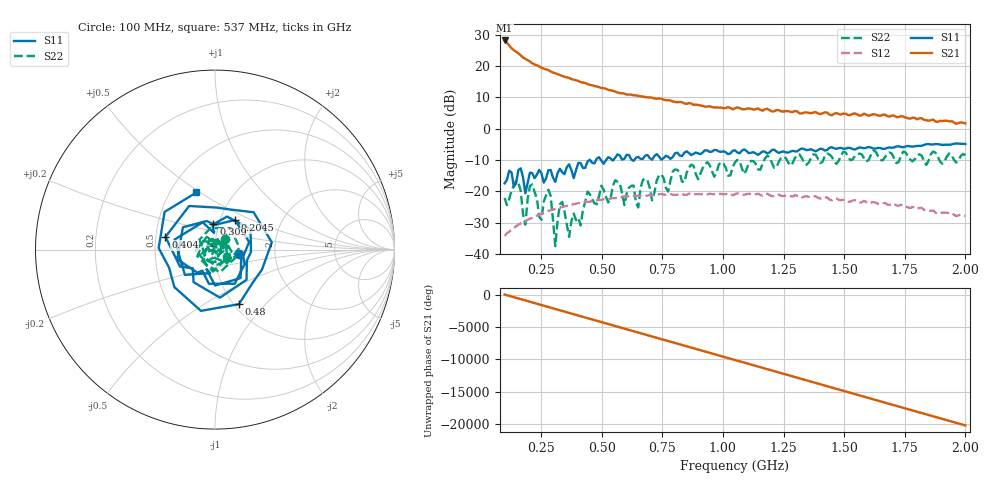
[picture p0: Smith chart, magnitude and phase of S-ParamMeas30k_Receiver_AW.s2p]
!Keysight Technologies,N5242B,MY48420967,A.15.65.19
!Date: Saturday, February 04, 2023 03:20:32
!Correction: S11(C  1-Port  )
!S21(Off)
!S12(Off)
!S22(Off)
!S2P File: Measurements: S11, S21, S12, S22:
# Hz S  dB  R 50
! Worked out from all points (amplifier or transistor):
!   201 points, 100 MHz to 2 GHz, reference 50 ohm
!   highest |S21| = 28.1 dB at 100 MHz (marker M1)
!   |S21| within 3 dB of that: start of sweep to 136.4 MHz
!   unconditionally stable (mu >= 1): start of sweep to end of sweep
!   at 413.5 MHz: K = 1.46, MAG = 15.3 dB, |S12| = -23.8 dB
!   at 1.05 GHz: K = 2.11, MAG = 7.7 dB, |S12| = -20.9 dB
!   at 2 GHz: K = 5.77, MAG = 4.2 dB, |S12| = -27.9 dB
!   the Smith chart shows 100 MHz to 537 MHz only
!   S11 on the Smith chart (normalised r, x): 100 MHz: 1.30, -0.07; 204.5 MHz: 1.17, +0.40; 309 MHz: 0.95, +0.27; 404 MHz: 0.56, +0.09; 480 MHz: 1.05, -0.72; 537 MHz: 0.67, +0.48
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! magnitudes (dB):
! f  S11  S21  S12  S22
! 100 MHz  -17.5  28.1  -34.3  -22.1
! 157 MHz  -13.2  24.0  -30.6  -17.3
! 185.5 MHz  -20.7  22.3  -29.6  -30.6
! 204.5 MHz  -14.0  21.4  -28.7  -18.3
! 252 MHz  -14.3  19.5  -27.2  -29.1
! 280.5 MHz  -13.3  18.7  -26.2  -19.5
! 309 MHz  -17.0  17.7  -25.6  -37.5
! 328 MHz  -12.8  17.1  -25.2  -24.1
! 366 MHz  -11.4  16.2  -24.4  -34.5
! 404 MHz  -10.9  15.2  -23.8  -28.5
! 423 MHz  -12.6  14.7  -23.5  -25.9
! 480 MHz  -9.6  13.4  -22.9  -24.1
! 537 MHz  -9.5  12.2  -22.3  -22.2
! 632 MHz  -10.3  10.6  -21.5  -18.2
! 651 MHz  -9.0  10.5  -21.4  -25.1
! 670 MHz  -9.7  10.3  -21.3  -16.4
! 708 MHz  -9.9  9.9  -21.2  -22.9
! 736.5 MHz  -8.9  9.6  -20.9  -14.9
! 1.05 GHz  -6.9  6.5  -20.9  -10.7
! 1.373 GHz  -6.9  5.1  -21.7  -8.2
! 1.687 GHz  -6.0  3.9  -24.4  -7.6
! 2 GHz  -4.9  1.7  -27.9  -8.5
